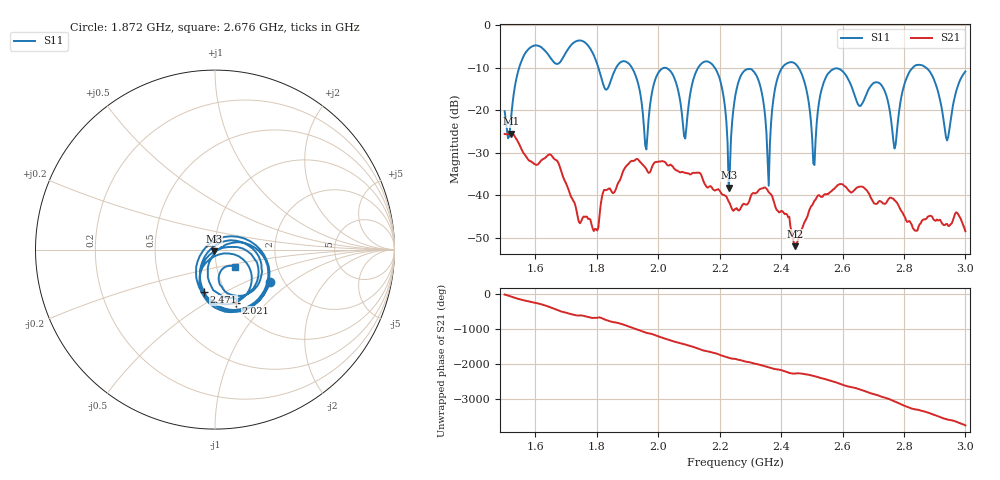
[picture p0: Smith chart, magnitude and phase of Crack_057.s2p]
# HZ S RI R 50
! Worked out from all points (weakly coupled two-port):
!   404 points, 1.5 GHz to 3 GHz, reference 50 ohm
!   highest |S21| = -25.50 dB at 1.522 GHz (marker M1); lowest = -52.0 dB at 2.445 GHz (marker M2)
!   lowest |S11| = -38.2 dB at 2.23 GHz (marker M3), VSWR 1.02, Z = 49.4 - j1.04 ohm
!   |S11| at or under -10 dB: 2.184 GHz to 2.404 GHz (219.2 MHz wide, 9.56 % of centre); 2.457 GHz to 2.828 GHz (371.1 MHz wide, 14 % of centre); 2.872 GHz to end of sweep (the widest 3 of 7)
!   S12 and S22 are empty: the file has one direction only
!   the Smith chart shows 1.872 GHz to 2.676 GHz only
!   S11 on the Smith chart (normalised r, x): 1.872 GHz: 1.70, -0.69; 2.021 GHz: 1.04, -0.68; 2.471 GHz: 0.80, -0.40; 2.676 GHz: 1.23, -0.25
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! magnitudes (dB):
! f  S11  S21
! 1.5 GHz  -20.2  -25.6
! 1.522 GHz  -20.7  -25.5
! 1.753 GHz  -3.7  -45.4
! 1.872 GHz  -9.0  -36.8
! 1.962 GHz  -29.2  -33.8
! 2.002 GHz  -10.9  -32.1
! 2.021 GHz  -10.0  -32.1
! 2.088 GHz  -26.6  -34.7
! 2.181 GHz  -9.7  -38.8
! 2.23 GHz  -38.2  -41.5
! 2.252 GHz  -16.2  -43.2
! 2.315 GHz  -11.3  -39.6
! 2.36 GHz  -37.7  -39.3
! 2.445 GHz  -9.0  -52.0
! 2.471 GHz  -12.3  -47.3
! 2.501 GHz  -26.6  -42.3
! 2.561 GHz  -10.8  -39.2
! 2.676 GHz  -16.5  -38.7
! 2.751 GHz  -18.8  -40.8
! 2.862 GHz  -9.5  -45.7
! 2.94 GHz  -27.1  -46.7
! 3 GHz  -10.9  -48.5
